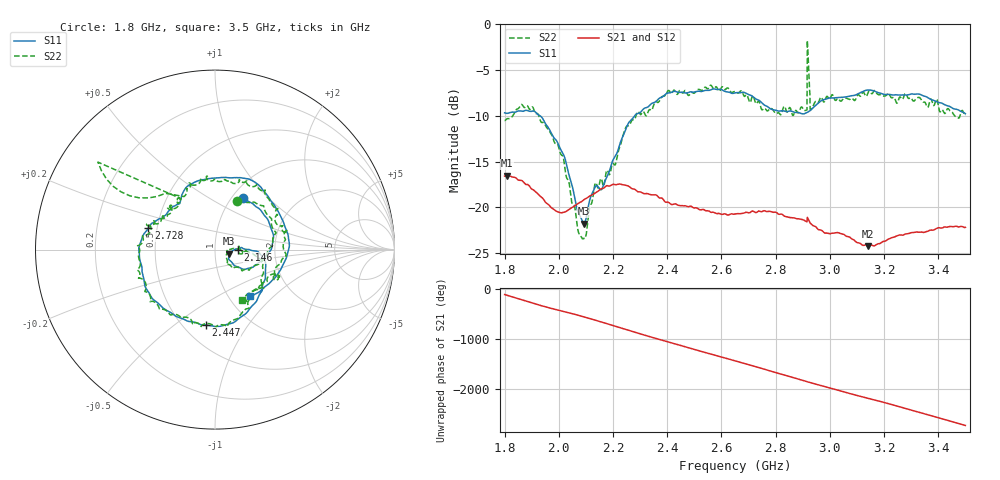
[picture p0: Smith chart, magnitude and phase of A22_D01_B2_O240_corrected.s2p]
! Created with skrf 1.9.0 (http://scikit-rf.org).
# Hz S RI R 50.0
!freq ReS11 ImS11 ReS21 ImS21 ReS12 ImS12 ReS22 ImS22
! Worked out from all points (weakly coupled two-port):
!   1601 points, 1.8 GHz to 3.5 GHz, reference 50 ohm
!   highest |S21| = -16.55 dB at 1.808 GHz (marker M1); lowest = -24.2 dB at 3.142 GHz (marker M2)
!   lowest |S11| = -21.8 dB at 2.093 GHz (marker M3), VSWR 1.18, Z = 58.5 - j2.56 ohm
!   |S11| at or under -10 dB: 1.93 GHz to 2.28 GHz (349.3 MHz wide, 16.6 % of centre)
!   |S22| runs from -23.4 to -1.8 dB; largest |S21 - S12| = 0.0029
!   S11 on the Smith chart (normalised r, x): 1.8 GHz: 1.12, +0.72; 2.146 GHz: 1.30, -0.00; 2.447 GHz: 0.64, -0.65; 2.728 GHz: 0.45, +0.13; 3.5 GHz: 1.25, -0.73
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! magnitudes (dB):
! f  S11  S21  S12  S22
! 1.8 GHz  -9.7  -16.6  -16.6  -10.5
! 1.808 GHz  -9.7  -16.5  -16.6  -10.3
! 1.882 GHz  -9.4  -17.5  -17.5  -8.9
! 1.966 GHz  -11.5  -19.8  -19.9  -11.7
! 2.014 GHz  -14.0  -20.6  -20.6  -14.4
! 2.084 GHz  -21.3  -19.4  -19.3  -23.2
! 2.093 GHz  -21.8  -19.2  -19.2  -23.4
! 2.13 GHz  -18.0  -18.5  -18.5  -17.9
! 2.146 GHz  -17.8  -18.2  -18.2  -17.8
! 2.208 GHz  -14.4  -17.5  -17.5  -15.4
! 2.259 GHz  -10.7  -17.7  -17.7  -11.1
! 2.367 GHz  -8.2  -18.9  -18.8  -8.5
! 2.447 GHz  -7.5  -19.8  -19.8  -7.2
! 2.65 GHz  -7.5  -20.7  -20.7  -7.4
! 2.728 GHz  -8.2  -20.6  -20.6  -8.7
! 2.907 GHz  -9.8  -21.4  -21.4  -9.4
! 2.916 GHz  -9.7  -21.6  -21.6  -9.4
! 2.925 GHz  -9.5  -21.6  -21.6  -7.2
! 2.934 GHz  -9.3  -21.9  -21.9  -9.2
! 3.142 GHz  -7.2  -24.2  -24.1  -7.4
! 3.217 GHz  -7.7  -23.5  -23.4  -7.6
! 3.5 GHz  -9.8  -22.2  -22.2  -9.9
